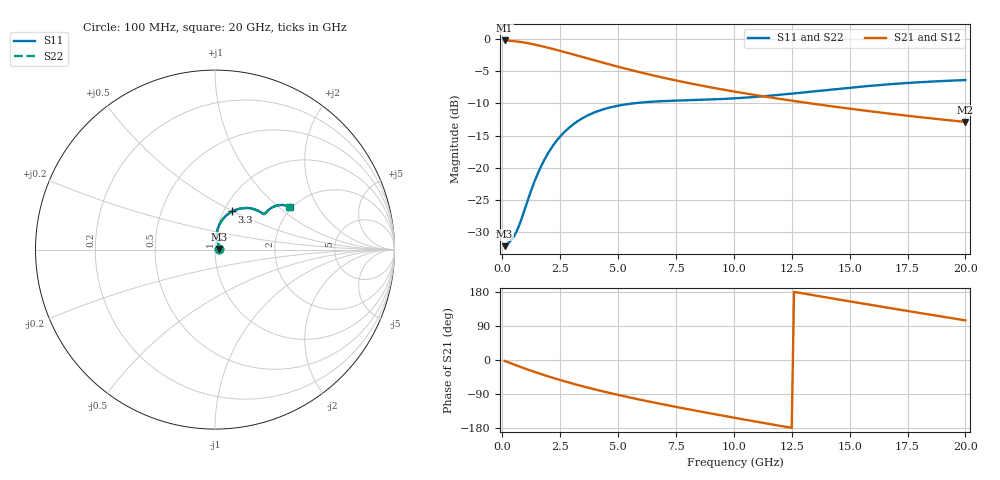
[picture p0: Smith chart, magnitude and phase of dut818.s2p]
! Touchstone file exported from HFSS 2024.1.0
!  File:  C:/UserFiles/LocalFiles/RDL_TSV_Batchsim/temp_RDL_TSV_818_1779914849.aedt
!  Generated:  05:04:45 AM May 28, 2026
!  Design:  RDL_TSV
!  Project:  temp_RDL_TSV_818_1779914849
!  Setup:  Setup1
!  Solution:  Sweep
! Variables:
!  dtsv = 11.64um
!  hbump = 3um
!  htsv = 93.2um
!  ldown = 319.76um
!  lrdl = 609.73um
!  p = 40
!  p1 = 58.22um
!  rhole = 10um
!  subl = 3398.2um
!  t = 450um
!  tdown = 4.56um
!  trdl = 3.71um
!  viad = 10um
!  wdown = 28.9um
!  wrdl = 10.63um
!  xbump = 18um
# GHz S MA R 50.000000
! Terminal data exported
! Port[1] = TM1_1_T1
! Port[2] = TM1_4_T1
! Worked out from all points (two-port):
!   200 points, 100 MHz to 20 GHz, reference 50 ohm
!   highest |S21| = -0.22 dB at 100 MHz (marker M1); lowest = -12.9 dB at 20 GHz (marker M2)
!   |S21| within 3 dB of the highest: start of sweep to 3.891 GHz
!   lowest |S11| = -32.2 dB at 100 MHz (marker M3), VSWR 1.05, Z = 52.5 + j0.428 ohm
!   |S11| at or under -10 dB: start of sweep to 5.632 GHz
!   |S22| runs from -32.2 to -6.4 dB; largest |S21 - S12| = 7e-15
!   S11 on the Smith chart (normalised r, x): 100 MHz: 1.05, +0.01; 3.3 GHz: 1.09, +0.49; 20 GHz: 1.93, +1.20
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0.1  0.02461 9.5  0.9751 -2.4  0.9751 -2.4  0.02461 9.5
! Gamma 0 0 0 0
! Port Impedance 50 0 50 0
0.4  0.02763 34.7  0.9676 -9.5  0.9676 -9.5  0.02764 34.6
0.6  0.0315 51.0  0.9593 -14.1  0.9593 -14.1  0.03151 50.9
0.8  0.03865 65.2  0.9486 -18.6  0.9486 -18.6  0.03864 65.0
1.1  0.05596 78.2  0.9289 -25.2  0.9289 -25.2  0.05589 78.1
1.6  0.09604 83.5  0.8894 -35.7  0.8894 -35.7  0.09584 83.4
2  0.1317 81.3  0.8545 -43.6  0.8545 -43.6  0.1314 81.1
2.4  0.1666 77.0  0.8186 -51.1  0.8186 -51.1  0.1662 76.9
2.8  0.1986 72.0  0.7827 -58.2  0.7827 -58.2  0.198 72.0
3.3  0.233 65.9  0.739 -66.6  0.739 -66.6  0.2323 65.8
3.5  0.2449 63.6  0.7222 -69.9  0.7222 -69.9  0.2441 63.5
4.3  0.2823 55.2  0.6588 -82.1  0.6588 -82.1  0.2813 55.1
5.1  0.3061 48.5  0.6029 -93.5  0.6029 -93.5  0.3049 48.5
5.9  0.3201 43.5  0.5545 -104.1  0.5545 -104.1  0.3188 43.5
6.8  0.3285 39.6  0.5079 -115.3  0.5079 -115.3  0.3271 39.6
8.4  0.3362 36.3  0.4419 -134.2  0.4419 -134.2  0.3346 36.3
10.1  0.3468 35.9  0.3886 -153.3  0.3886 -153.3  0.3452 35.9
11.7  0.365 36.4  0.3491 -170.6  0.3491 -170.6  0.3635 36.5
13.4  0.3915 36.5  0.3148 171.3  0.3148 171.3  0.3901 36.6
15  0.4187 35.6  0.2878 154.7  0.2878 154.7  0.4174 35.7
16.7  0.4451 34.0  0.2637 137.4  0.2637 137.4  0.4439 34.1
20  0.48 30.0  0.2271 104.5  0.2271 104.5  0.4786 30.1
